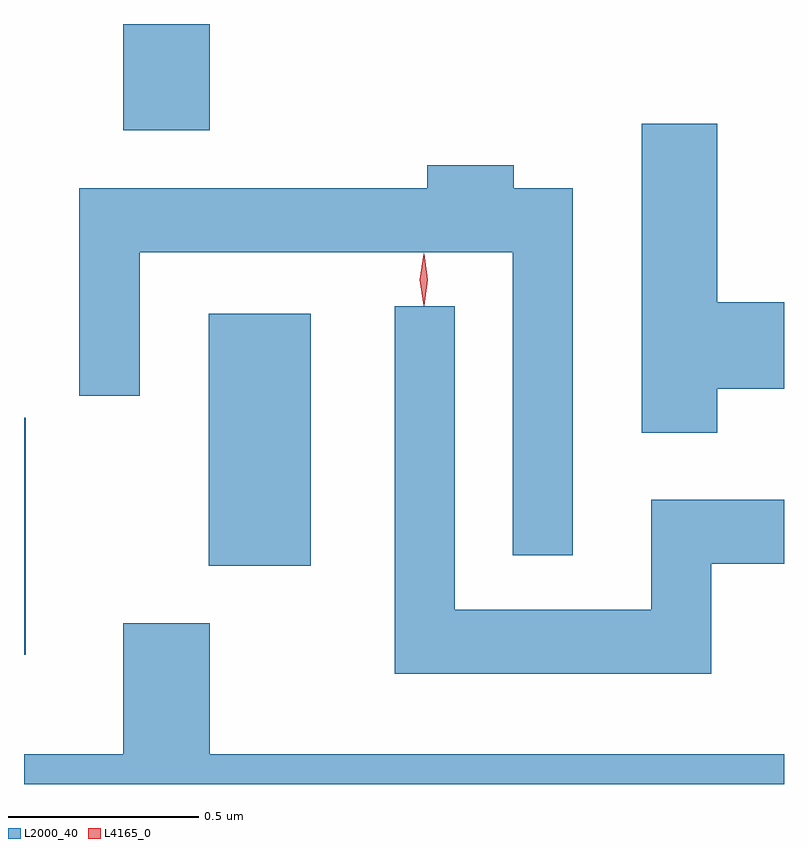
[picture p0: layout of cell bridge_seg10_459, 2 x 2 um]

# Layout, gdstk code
import gdstk
lib = gdstk.Library(unit=1e-6, precision=1e-09)
def R(c, l, rs):  # rectangles x0, y0, x1, y1
    for r in rs: c.add(gdstk.rectangle(r[:2], r[2:], *l))
def P(c, l, *ps):  # polygons
    for p in ps: c.add(gdstk.Polygon(p, *l))
L2000_40 = (2000, 40)
L4165_0 = (4165, 0)

bridge_seg10_459 = lib.new_cell('bridge_seg10_459')
R(bridge_seg10_459, L2000_40, [(1420.61,2132.206,1420.614,2132.83), (1421.096,2132.441,1421.364,2133.104), (1420.871,2133.586,1421.099,2133.866)])
P(bridge_seg10_459, L2000_40, [(1422.434,2132.906),(1422.61,2132.906),(1422.61,2133.134),(1422.434,2133.134),(1422.434,2133.604),(1422.236,2133.604),(1422.236,2132.791),(1422.434,2132.791)],
  [(1422.054,2133.434),(1421.899,2133.434),(1421.899,2133.494),(1421.671,2133.494),(1421.671,2133.434),(1420.756,2133.434),(1420.756,2132.888),(1420.914,2132.888),(1420.914,2133.266),(1421.896,2133.266),(1421.896,2132.468),(1422.054,2132.468)],
  [(1422.419,2132.446),(1422.61,2132.446),(1422.61,2132.614),(1422.261,2132.614),(1422.261,2132.324),(1421.744,2132.324),(1421.744,2133.123),(1421.586,2133.123),(1421.586,2132.156),(1422.419,2132.156)],
  [(1422.61,2131.944),(1421.099,2131.944),(1421.099,2132.289),(1420.871,2132.289),(1420.871,2131.944),(1420.61,2131.944),(1420.61,2131.866),(1422.61,2131.866)])
P(bridge_seg10_459, L4165_0, [(1421.662,2133.124),(1421.662,2133.124),(1421.652,2133.193),(1421.662,2133.262),(1421.662,2133.263),(1421.663,2133.262),(1421.672,2133.193),(1421.663,2133.124)])

lib.write_gds('bridge_seg10_459.gds')
